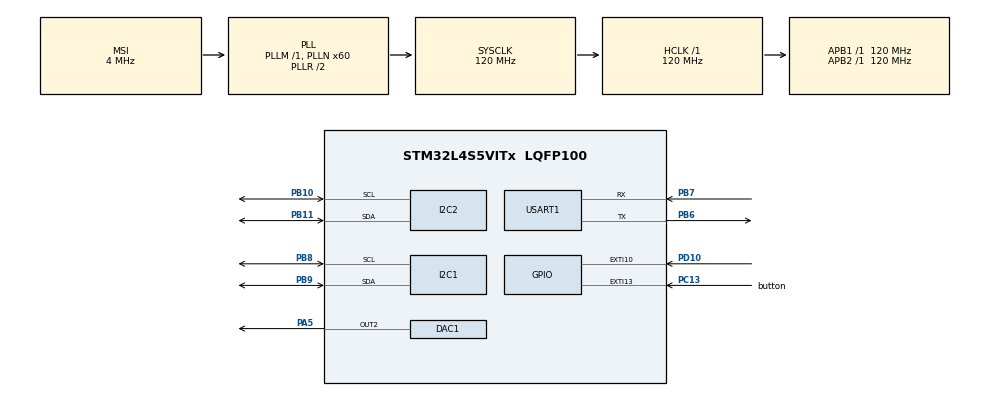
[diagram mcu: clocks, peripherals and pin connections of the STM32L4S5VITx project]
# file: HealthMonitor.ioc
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ADC1.Channel-0\#ChannelRegularConversion=ADC_CHANNEL_TEMPSENSOR
ADC1.NbrOfConversionFlag=1
ADC1.OffsetNumber-0\#ChannelRegularConversion=ADC_OFFSET_NONE
ADC1.Rank-0\#ChannelRegularConversion=1
ADC1.SamplingTime-0\#ChannelRegularConversion=ADC_SAMPLETIME_2CYCLES_5
ADC1.master=1
DAC1.DAC_Channel-DAC_OUT2=DAC_CHANNEL_2
DAC1.DAC_Trigger-DAC_OUT2=DAC_TRIGGER_T2_TRGO
Dma.DAC1_CH2.0.Direction=DMA_MEMORY_TO_PERIPH
Dma.DAC1_CH2.0.EventEnable=DISABLE
Dma.DAC1_CH2.0.Instance=DMA1_Channel1
Dma.DAC1_CH2.0.MemDataAlignment=DMA_MDATAALIGN_HALFWORD
Dma.DAC1_CH2.0.MemInc=DMA_MINC_ENABLE
Dma.DAC1_CH2.0.Mode=DMA_CIRCULAR
Dma.DAC1_CH2.0.PeriphDataAlignment=DMA_PDATAALIGN_HALFWORD
Dma.DAC1_CH2.0.PeriphInc=DMA_PINC_DISABLE
Dma.DAC1_CH2.0.Polarity=HAL_DMAMUX_REQUEST_GEN_RISING
Dma.DAC1_CH2.0.Priority=DMA_PRIORITY_LOW
Dma.DAC1_CH2.0.RequestNumber=1
Dma.DAC1_CH2.0.SignalID=NONE
Dma.DAC1_CH2.0.SyncEnable=DISABLE
Dma.DAC1_CH2.0.SyncPolarity=HAL_DMAMUX_SYNC_NO_EVENT
Dma.DAC1_CH2.0.SyncRequestNumber=1
Dma.DAC1_CH2.0.SyncSignalID=NONE
Dma.Request0=DAC1_CH2
I2C1.Timing=0x30A175AB
I2C2.Timing=0x30A175AB
Mcu.Family=STM32L4
Mcu.Name=STM32L4S5VITx
Mcu.Package=LQFP100
NVIC.DMA1_Channel1_IRQn=true\:0\:0\:false\:false\:true\:false\:true\:true
NVIC.EXTI15_10_IRQn=true\:0\:0\:false\:false\:true\:true\:true\:true
NVIC.PriorityGroup=NVIC_PRIORITYGROUP_4
NVIC.TIM2_IRQn=true\:0\:0\:false\:false\:true\:true\:true\:true
PA4.Signal=SharedAnalog_PA4
PA5.Signal=COMP_DAC12_group
PB10.Mode=I2C
PB10.Signal=I2C2_SCL
PB11.Mode=I2C
PB11.Signal=I2C2_SDA
PB6.Mode=Asynchronous
PB6.Signal=USART1_TX
PB7.Mode=Asynchronous
PB7.Signal=USART1_RX
PB8.Mode=I2C
PB8.Signal=I2C1_SCL
PB9.Mode=I2C
PB9.Signal=I2C1_SDA
PC13.GPIO_Label=button
PC13.Signal=GPXTI13
PD10.GPIO_ModeDefaultEXTI=GPIO_MODE_IT_FALLING
PD10.GPIO_PuPd=GPIO_PULLUP
PD10.Signal=GPXTI10
ProjectManager.HeapSize=0x200
ProjectManager.StackSize=0x400
ProjectManager.TargetToolchain=STM32CubeIDE
RCC.ADCFreq_Value=48000000
RCC.AHBFreq_Value=120000000
RCC.APB1Freq_Value=120000000
RCC.APB1TimFreq_Value=120000000
RCC.APB2Freq_Value=120000000
RCC.APB2TimFreq_Value=120000000
RCC.CortexFreq_Value=120000000
RCC.HCLKFreq_Value=120000000
RCC.HSE_VALUE=8000000
RCC.HSI48_VALUE=48000000
RCC.HSI_VALUE=16000000
RCC.LSE_VALUE=32768
RCC.MSI_VALUE=4000000
RCC.PLLN=60
RCC.PLLSAI1N=24
RCC.SYSCLKFreq_VALUE=120000000
RCC.SYSCLKSource=RCC_SYSCLKSOURCE_PLLCLK
RCC.USBFreq_Value=48000000
RCC.VCOOutputFreq_Value=240000000
SH.COMP_DAC12_group.0=DAC1_OUT2,DAC_OUT2
SH.SharedAnalog_PA4.0=ADC1_IN9
SH.SharedAnalog_PA4.1=DAC1_OUT1
TIM2.Period=2721
TIM2.TIM_MasterOutputTrigger=TIM_TRGO_UPDATE
USART1.VirtualMode-Asynchronous=VM_ASYNC
VP_ADC1_TempSens_Input.Mode=IN-TempSens
VP_ADC1_Vref_Input.Mode=IN-Vrefint
VP_TIM2_VS_ClockSourceINT.Mode=Internal
board=B-L4S5I-IOT01A

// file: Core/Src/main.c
/* USER CODE BEGIN Header */
/**
  ******************************************************************************
  * @file           : main.c
  * @brief          : Main program body
  ******************************************************************************
  * @attention
  *
  * Copyright (c) 2025 STMicroelectronics.
  * All rights reserved.
  *
  * This software is licensed under terms that can be found in the LICENSE file
  * in the root directory of this software component.
  * If no LICENSE file comes with this software, it is provided AS-IS.
  *
  ******************************************************************************
  */
/* USER CODE END Header */
#include "main.h"

/* USER CODE BEGIN Includes */
#include "circular_q.h"
#include "kalman.h"

#include "max30102_for_stm32_hal.h"
#include "stm32l4s5i_iot01_tsensor.h"
#include "stm32l4s5i_iot01_accelero.h"
#include "stm32l4s5i_iot01_gyro.h"
#include "stm32l4s5i_iot01.h"

#include <stdio.h>
#include <string.h>
#include <math.h>
#include <stdbool.h>
#include "pulse_detection_algorithm.h"

#define ARM_MATH_CM4
#include "arm_math.h"

/* USER CODE END Includes */

/* USER CODE BEGIN PD */

#define buffer_size 10

#define VREF_INT_ADDR (uint16_t*)(uint32_t) 0x1FFF75AA //length 2 bytes

#define TS_CAL1_ADDR (uint16_t*)(uint32_t) 0x1FFF75A8
#define TS_CAL2_ADDR (uint16_t*)(uint32_t) 0x1FFF75CA

#define PI 3.14f
#define MAX_VALUE 3276 //12 bit DAC 80% of 4095

/* USER CODE END PD */

ADC_HandleTypeDef hadc1;

DAC_HandleTypeDef hdac1;
DMA_HandleTypeDef hdma_dac1_ch2;

I2C_HandleTypeDef hi2c1;
I2C_HandleTypeDef hi2c2;

TIM_HandleTypeDef htim2;

UART_HandleTypeDef huart1;

/* USER CODE BEGIN PV */

max30102_t max30102;
// Heart rate calculation variables
#define RATE_SIZE 4  // Size of the array for storing heartbeat rates
uint32_t lastBeat = 0;  // Time of the last detected heartbeat
float beatsPerMinute = 0;
uint8_t beatAvg = 0;

int tone; //keeps track of tone
int C6_size = 44; // C6 is 1 kHz, so 44 samples per period
int E6_size = 33; // E6 is 1.3 kHz, so 33 samples per period
int G6_size = 28; // G6 is 1.57 kHz, so 28 samples per period
uint16_t C6_data[44];
uint16_t E6_data[33];
uint16_t G6_data[28];

//accelero

//store kalman state
struct kalman_state x_state;
struct kalman_state y_state;
struct kalman_state z_state;

//store accelerometer values
int16_t aDataXYZ[3];
float aDataXYZ_norm[3];
float ax, ay, az;
//store tilt values
float tilt_x, tilt_y, tilt_z;
//store square roots of denominators in arctan
float root_x, root_y, root_z;

//buffer for last 20 values
struct queue buffer_x;
struct queue buffer_y;
struct queue buffer_z;
struct queue buffer_heart;

float array_x[buffer_size];
float array_y[buffer_size];
float array_z[buffer_size];
float array_heart[4];

//alarm flag, checked to sound alarm thru DAC speaker
uint8_t alarm = 0;
uint8_t temp_alarm = 0;

//UART output
char output[100];

//adc
int CHANNEL = ADC_CHANNEL_VREFINT;

/* USER CODE END PV */

void SystemClock_Config(void);
static void MX_GPIO_Init(void);
static void MX_DMA_Init(void);
static void MX_I2C2_Init(void);
static void MX_DAC1_Init(void);
static void MX_TIM2_Init(void);
static void MX_USART1_UART_Init(void);
static void MX_I2C1_Init(void);
static void MX_ADC1_Init(void);

/* USER CODE BEGIN 0 */

//overwrite the write fucntion to use printf with UART transmit
int _write(int file, char *ptr, int len)
{
	HAL_UART_Transmit(&huart1, (uint8_t*)ptr, len, HAL_MAX_DELAY);
	return len;
}

void generate_sine_wave(uint16_t wave[], int num_samples){
	float step_angle = 2.0f * PI / num_samples;
	int max_amplitude = MAX_VALUE / 2;

	for (int i = 0; i < num_samples; i++) {
		wave[i] = max_amplitude * (1 + arm_sin_f32(step_angle* i)); //sine values are between -1 and 1, add 1 to make them between 0 and 2
	}
}

/* USER CODE END 0 */

int main(void)
{

  /* MCU Configuration--------------------------------------------------------*/

  /* Reset of all peripherals, Initializes the Flash interface and the Systick. */
  HAL_Init();

  /* Configure the system clock */
  SystemClock_Config();

  /* Initialize all configured peripherals */
  MX_GPIO_Init();
  MX_DMA_Init();
  MX_I2C2_Init();
  MX_DAC1_Init();
  MX_TIM2_Init();
  MX_USART1_UART_Init();
  MX_I2C1_Init();
  MX_ADC1_Init();
  /* USER CODE BEGIN 2 */

  //generate DAC waves
  generate_sine_wave(C6_data, C6_size);
  generate_sine_wave(G6_data, G6_size);
  generate_sine_wave(E6_data, E6_size);

  //setup temperature adc
  uint16_t vref_int = *VREF_INT_ADDR;
  float vref_cal = 3.0;

  float ts_cal2_temp = 130.0;

  float ts_cal1_temp = 30.0;
  uint16_t ts_cal1 = *TS_CAL1_ADDR;
  uint16_t ts_cal2 = *TS_CAL2_ADDR;
  uint16_t adc_temp_value;
  float temp_value;

  HAL_Delay(1);
  HAL_ADC_Start(&hadc1);
  HAL_ADC_PollForConversion(&hadc1, HAL_MAX_DELAY);
  uint16_t adc_volt_value = HAL_ADC_GetValue(&hadc1);

  float vref_value = (vref_cal * vref_int) / adc_volt_value;
  CHANNEL = ADC_CHANNEL_TEMPSENSOR;
  MX_ADC1_Init();

  //setup heart sensor
  lastBeat = HAL_GetTick();
  beatsPerMinute = 0;
  for (uint8_t i = 0; i < RATE_SIZE; i++) {
      rates[i] = 0;
  }
  beatAvg = 0;
 // Initialize sensor
  max30102_init(&max30102, &hi2c1);

  // Reset sensor and clear FIFO
  max30102_reset(&max30102);
  max30102_clear_fifo(&max30102);

    // Configure FIFO settings
  max30102_set_fifo_config(&max30102, max30102_smp_ave_8, 1, 7);

  // Configure LED settings
  max30102_set_led_pulse_width(&max30102, max30102_pw_16_bit);
  max30102_set_adc_resolution(&max30102, max30102_adc_2048);
  max30102_set_sampling_rate(&max30102, max30102_sr_800);
  max30102_set_led_current_1(&max30102, 6.2);
  max30102_set_led_current_2(&max30102, 6.2);

  // Enter SpO2 measurement mode
  max30102_set_mode(&max30102, max30102_heart_rate);

  // Enable interrupts
  max30102_set_a_full(&max30102, 1);
  max30102_set_die_temp_en(&max30102, 1);
  max30102_set_die_temp_rdy(&max30102, 1);

  printf("MAX30102 initialized and configured\r\n");

  //start timer 2, used by dma
  HAL_TIM_Base_Start_IT(&htim2);

  //init accelerometer
  BSP_ACCELERO_Init();
  buffer_x.start = 0;
  buffer_x.size = buffer_size;
  buffer_x.end = buffer_size- 1;
  buffer_x.array = array_x;

  buffer_y.start = 0;
  buffer_y.size = buffer_size;
  buffer_y.end = buffer_size- 1;
  buffer_y.array = array_y;

  buffer_z.start = 0;
  buffer_z.size = buffer_size;
  buffer_z.end = buffer_size- 1;
  buffer_z.array = array_z;

  buffer_heart.start = 0;
  buffer_heart.size = 4;
  buffer_heart.end = RATE_SIZE - 1;
  buffer_heart.array = array_heart;

  //init kalman filter for accelerometer values
  BSP_ACCELERO_AccGetXYZ(aDataXYZ);

  x_state.x = aDataXYZ[0];
  x_state.p = 0.1;
  x_state.q = 0.1;
  x_state.k = 0.0;
  x_state.r = 0.1;

  y_state.x = aDataXYZ[1];
  y_state.p = 0.1;
  y_state.q = 0.1;
  y_state.k = 0.0;
  y_state.r = 0.1;

  z_state.x = aDataXYZ[2];
  z_state.p = 0.1;
  z_state.q = 0.1;
  z_state.k = 0.0;
  z_state.r = 0.1;

  /* USER CODE END 2 */

  /* Infinite loop */
  while (1)
  {

    /* USER CODE BEGIN 3 */
	uint16_t len;

	//get temperature values
	HAL_ADC_Start(&hadc1);
	HAL_Delay(1);
	HAL_ADC_PollForConversion(&hadc1, HAL_MAX_DELAY);
	adc_temp_value = HAL_ADC_GetValue(&hadc1);
	temp_value = ((ts_cal2_temp - ts_cal1_temp) / (float)(ts_cal2 - ts_cal1)) * (adc_temp_value * (vref_value / vref_cal) - (float)ts_cal1) + 30.0;

	if(temp_value >= 38 && alarm == 0) { //sound alarm if temperature becomes too high
		alarm = 1;
	}

	//read accelerometer raw values
	BSP_ACCELERO_AccGetXYZ(aDataXYZ);
	// normalize the values
	aDataXYZ_norm[0] = (aDataXYZ[0] / 1024.0f);
	aDataXYZ_norm[1] = (aDataXYZ[1] / 1024.0f);
	aDataXYZ_norm[2] = (aDataXYZ[2] / 1024.0f);

	ax = aDataXYZ_norm[0];
	ay = aDataXYZ_norm[1];
	az = aDataXYZ_norm[2];

	//get square root of denominators in arctan
	arm_sqrt_f32(ay*ay + az*az, &root_x);
	arm_sqrt_f32(ax*ax + az*az, &root_y);
	arm_sqrt_f32(ay*ay + ax*ax, &root_z);

	//get tilt values in degrees
	tilt_x = atan2(ax,root_x) * (180.0f / 3.14f);
	tilt_y = atan2(ay,root_y) * (180.0f / 3.14f);
	tilt_z = atan2(az,root_z) * (180.0f / 3.14f);

	//apply kalman filter on each axis value
	tilt_x = update_kalman_c(&x_state, tilt_x);
	tilt_y = update_kalman_c(&y_state, tilt_y);
	tilt_z = update_kalman_c(&z_state, tilt_z);

	//add the values read to the circular buffers
	queue_add(&buffer_x, tilt_x);
	queue_add(&buffer_y, tilt_y);
	queue_add(&buffer_z, tilt_z);

	//get the new averages
	float avg_x = queue_average(&buffer_x);
	float avg_y = queue_average(&buffer_y);
	float avg_z = queue_average(&buffer_z);

	if(tilt_z >= -90 && tilt_z <= -80 && alarm == 0) { //if 90 degrees rotation about z axis, sound alarm
		alarm = 1;
	}

	//read heart sensor IR values and calculate heart rate

  // Read data from FIFO
  max30102_read_fifo(&max30102);

  // Access the data from the max30102 object
  // The first sample in each array is the most recent
  uint32_t ir_sample = max30102._ir_samples[0];
  uint32_t red_sample = max30102._red_samples[0];

  // Check for heartbeat

  if (checkForBeat(ir_sample) == true)
  {
	  // We sensed a beat!
	  uint32_t currentTime = HAL_GetTick();
	  uint32_t delta = currentTime - lastBeat;
	  lastBeat = currentTime;

	  beatsPerMinute = 60 / (delta / 1000.0);

	  if (beatsPerMinute < 255 && beatsPerMinute > 20)
	  {
		  queue_add(&buffer_heart, beatsPerMinute);

		  beatAvg = queue_average(&buffer_heart);

		  // Print heart rate information
		sprintf(output, "\r\n================= SENSOR READINGS =================\r\n");
		HAL_UART_Transmit(&huart1, (uint8_t*)output, strlen(output), 200);

		sprintf(output, "💓 Heart Rate : %.1f BPM\r\n", beatsPerMinute);
		HAL_UART_Transmit(&huart1, (uint8_t*)output, strlen(output), 200);

		sprintf(output, "🌡 Temperature : %.1f °C\r\n", temp_value);
		HAL_UART_Transmit(&huart1, (uint8_t*)output, strlen(output), 200);

		sprintf(output, "📐 Tilt Angles : X = %.1f°, Y = %.1f°, Z = %.1f°\r\n", tilt_x, tilt_y, tilt_z);
		HAL_UART_Transmit(&huart1, (uint8_t*)output, strlen(output), 200);

		sprintf(output, "==================================================\r\n\r\n");
		HAL_UART_Transmit(&huart1, (uint8_t*)output, strlen(output), 200);

		if(beatAvg > 170 && alarm == 0) { //if higher than 170, sound alarm
			alarm = 1;
		}
	  }
  }

  if(alarm == 1) {
	  HAL_DAC_Start_DMA(&hdac1, DAC_CHANNEL_2, G6_data, G6_size, DAC_ALIGN_12B_R);
	  alarm = 2; //alarm is playing is 2
  }

	//HAL_Delay(10);

  }
  /* USER CODE END 3 */
}

void SystemClock_Config(void)
{
  RCC_OscInitTypeDef RCC_OscInitStruct = {0};
  RCC_ClkInitTypeDef RCC_ClkInitStruct = {0};

  /** Configure the main internal regulator output voltage
  */
  if (HAL_PWREx_ControlVoltageScaling(PWR_REGULATOR_VOLTAGE_SCALE1_BOOST) != HAL_OK)
  {
    Error_Handler();
  }

  /** Initializes the RCC Oscillators according to the specified parameters
  * in the RCC_OscInitTypeDef structure.
  */
  RCC_OscInitStruct.OscillatorType = RCC_OSCILLATORTYPE_MSI;
  RCC_OscInitStruct.MSIState = RCC_MSI_ON;
  RCC_OscInitStruct.MSICalibrationValue = 0;
  RCC_OscInitStruct.MSIClockRange = RCC_MSIRANGE_6;
  RCC_OscInitStruct.PLL.PLLState = RCC_PLL_ON;
  RCC_OscInitStruct.PLL.PLLSource = RCC_PLLSOURCE_MSI;
  RCC_OscInitStruct.PLL.PLLM = 1;
  RCC_OscInitStruct.PLL.PLLN = 60;
  RCC_OscInitStruct.PLL.PLLP = RCC_PLLP_DIV2;
  RCC_OscInitStruct.PLL.PLLQ = RCC_PLLQ_DIV2;
  RCC_OscInitStruct.PLL.PLLR = RCC_PLLR_DIV2;
  if (HAL_RCC_OscConfig(&RCC_OscInitStruct) != HAL_OK)
  {
    Error_Handler();
  }

  /** Initializes the CPU, AHB and APB buses clocks
  */
  RCC_ClkInitStruct.ClockType = RCC_CLOCKTYPE_HCLK|RCC_CLOCKTYPE_SYSCLK
                              |RCC_CLOCKTYPE_PCLK1|RCC_CLOCKTYPE_PCLK2;
  RCC_ClkInitStruct.SYSCLKSource = RCC_SYSCLKSOURCE_PLLCLK;
  RCC_ClkInitStruct.AHBCLKDivider = RCC_SYSCLK_DIV1;
  RCC_ClkInitStruct.APB1CLKDivider = RCC_HCLK_DIV1;
  RCC_ClkInitStruct.APB2CLKDivider = RCC_HCLK_DIV1;

  if (HAL_RCC_ClockConfig(&RCC_ClkInitStruct, FLASH_LATENCY_5) != HAL_OK)
  {
    Error_Handler();
  }
}

static void MX_ADC1_Init(void)
{

  ADC_ChannelConfTypeDef sConfig = {0};

  /** Common config
  */
  hadc1.Instance = ADC1;
  hadc1.Init.ClockPrescaler = ADC_CLOCK_ASYNC_DIV1;
  hadc1.Init.Resolution = ADC_RESOLUTION_12B;
  hadc1.Init.DataAlign = ADC_DATAALIGN_RIGHT;
  hadc1.Init.ScanConvMode = ADC_SCAN_DISABLE;
  hadc1.Init.EOCSelection = ADC_EOC_SINGLE_CONV;
  hadc1.Init.LowPowerAutoWait = DISABLE;
  hadc1.Init.ContinuousConvMode = DISABLE;
  hadc1.Init.NbrOfConversion = 1;
  hadc1.Init.DiscontinuousConvMode = DISABLE;
  hadc1.Init.ExternalTrigConv = ADC_SOFTWARE_START;
  hadc1.Init.ExternalTrigConvEdge = ADC_EXTERNALTRIGCONVEDGE_NONE;
  hadc1.Init.DMAContinuousRequests = DISABLE;
  hadc1.Init.Overrun = ADC_OVR_DATA_PRESERVED;
  hadc1.Init.OversamplingMode = DISABLE;
  if (HAL_ADC_Init(&hadc1) != HAL_OK)
  {
    Error_Handler();
  }

  /** Configure Regular Channel
  */
  sConfig.Channel = ADC_CHANNEL_TEMPSENSOR;
  sConfig.Rank = ADC_REGULAR_RANK_1;
  sConfig.SamplingTime = ADC_SAMPLETIME_640CYCLES_5;
  sConfig.SingleDiff = ADC_SINGLE_ENDED;
  sConfig.OffsetNumber = ADC_OFFSET_NONE;
  sConfig.Offset = 0;
  if (HAL_ADC_ConfigChannel(&hadc1, &sConfig) != HAL_OK)
  {
    Error_Handler();
  }

}

static void MX_DAC1_Init(void)
{

  DAC_ChannelConfTypeDef sConfig = {0};

  /** DAC Initialization
  */
  hdac1.Instance = DAC1;
  if (HAL_DAC_Init(&hdac1) != HAL_OK)
  {
    Error_Handler();
  }

  /** DAC channel OUT2 config
  */
  sConfig.DAC_SampleAndHold = DAC_SAMPLEANDHOLD_DISABLE;
  sConfig.DAC_Trigger = DAC_TRIGGER_T2_TRGO;
  sConfig.DAC_HighFrequency = DAC_HIGH_FREQUENCY_INTERFACE_MODE_ABOVE_80MHZ;
  sConfig.DAC_OutputBuffer = DAC_OUTPUTBUFFER_ENABLE;
  sConfig.DAC_ConnectOnChipPeripheral = DAC_CHIPCONNECT_DISABLE;
  sConfig.DAC_UserTrimming = DAC_TRIMMING_FACTORY;
  if (HAL_DAC_ConfigChannel(&hdac1, &sConfig, DAC_CHANNEL_2) != HAL_OK)
  {
    Error_Handler();
  }

}

static void MX_I2C1_Init(void)
{

  hi2c1.Instance = I2C1;
  hi2c1.Init.Timing = 0x30A175AB;
  hi2c1.Init.OwnAddress1 = 0;
  hi2c1.Init.AddressingMode = I2C_ADDRESSINGMODE_7BIT;
  hi2c1.Init.DualAddressMode = I2C_DUALADDRESS_DISABLE;
  hi2c1.Init.OwnAddress2 = 0;
  hi2c1.Init.OwnAddress2Masks = I2C_OA2_NOMASK;
  hi2c1.Init.GeneralCallMode = I2C_GENERALCALL_DISABLE;
  hi2c1.Init.NoStretchMode = I2C_NOSTRETCH_DISABLE;
  if (HAL_I2C_Init(&hi2c1) != HAL_OK)
  {
    Error_Handler();
  }

  /** Configure Analogue filter
  */
  if (HAL_I2CEx_ConfigAnalogFilter(&hi2c1, I2C_ANALOGFILTER_ENABLE) != HAL_OK)
  {
    Error_Handler();
  }

  /** Configure Digital filter
  */
  if (HAL_I2CEx_ConfigDigitalFilter(&hi2c1, 0) != HAL_OK)
  {
    Error_Handler();
  }

}

static void MX_I2C2_Init(void)
{

  hi2c2.Instance = I2C2;
  hi2c2.Init.Timing = 0x30A175AB;
  hi2c2.Init.OwnAddress1 = 0;
  hi2c2.Init.AddressingMode = I2C_ADDRESSINGMODE_7BIT;
  hi2c2.Init.DualAddressMode = I2C_DUALADDRESS_DISABLE;
  hi2c2.Init.OwnAddress2 = 0;
  hi2c2.Init.OwnAddress2Masks = I2C_OA2_NOMASK;
  hi2c2.Init.GeneralCallMode = I2C_GENERALCALL_DISABLE;
  hi2c2.Init.NoStretchMode = I2C_NOSTRETCH_DISABLE;
  if (HAL_I2C_Init(&hi2c2) != HAL_OK)
  {
    Error_Handler();
  }

  /** Configure Analogue filter
  */
  if (HAL_I2CEx_ConfigAnalogFilter(&hi2c2, I2C_ANALOGFILTER_ENABLE) != HAL_OK)
  {
    Error_Handler();
  }

  /** Configure Digital filter
  */
  if (HAL_I2CEx_ConfigDigitalFilter(&hi2c2, 0) != HAL_OK)
  {
    Error_Handler();
  }

}

static void MX_TIM2_Init(void)
{

  TIM_ClockConfigTypeDef sClockSourceConfig = {0};
  TIM_MasterConfigTypeDef sMasterConfig = {0};

  htim2.Instance = TIM2;
  htim2.Init.Prescaler = 0;
  htim2.Init.CounterMode = TIM_COUNTERMODE_UP;
  htim2.Init.Period = 2721;
  htim2.Init.ClockDivision = TIM_CLOCKDIVISION_DIV1;
  htim2.Init.AutoReloadPreload = TIM_AUTORELOAD_PRELOAD_DISABLE;
  if (HAL_TIM_Base_Init(&htim2) != HAL_OK)
  {
    Error_Handler();
  }
  sClockSourceConfig.ClockSource = TIM_CLOCKSOURCE_INTERNAL;
  if (HAL_TIM_ConfigClockSource(&htim2, &sClockSourceConfig) != HAL_OK)
  {
    Error_Handler();
  }
  sMasterConfig.MasterOutputTrigger = TIM_TRGO_UPDATE;
  sMasterConfig.MasterSlaveMode = TIM_MASTERSLAVEMODE_DISABLE;
  if (HAL_TIMEx_MasterConfigSynchronization(&htim2, &sMasterConfig) != HAL_OK)
  {
    Error_Handler();
  }

}

static void MX_USART1_UART_Init(void)
{

  huart1.Instance = USART1;
  huart1.Init.BaudRate = 115200;
  huart1.Init.WordLength = UART_WORDLENGTH_8B;
  huart1.Init.StopBits = UART_STOPBITS_1;
  huart1.Init.Parity = UART_PARITY_NONE;
  huart1.Init.Mode = UART_MODE_TX_RX;
  huart1.Init.HwFlowCtl = UART_HWCONTROL_NONE;
  huart1.Init.OverSampling = UART_OVERSAMPLING_16;
  huart1.Init.OneBitSampling = UART_ONE_BIT_SAMPLE_DISABLE;
  huart1.Init.ClockPrescaler = UART_PRESCALER_DIV1;
  huart1.AdvancedInit.AdvFeatureInit = UART_ADVFEATURE_NO_INIT;
  if (HAL_UART_Init(&huart1) != HAL_OK)
  {
    Error_Handler();
  }
  if (HAL_UARTEx_SetTxFifoThreshold(&huart1, UART_TXFIFO_THRESHOLD_1_8) != HAL_OK)
  {
    Error_Handler();
  }
  if (HAL_UARTEx_SetRxFifoThreshold(&huart1, UART_RXFIFO_THRESHOLD_1_8) != HAL_OK)
  {
    Error_Handler();
  }
  if (HAL_UARTEx_DisableFifoMode(&huart1) != HAL_OK)
  {
    Error_Handler();
  }

}

static void MX_DMA_Init(void)
{

  /* DMA controller clock enable */
  __HAL_RCC_DMAMUX1_CLK_ENABLE();
  __HAL_RCC_DMA1_CLK_ENABLE();

  /* DMA interrupt init */
  /* DMA1_Channel1_IRQn interrupt configuration */
  HAL_NVIC_SetPriority(DMA1_Channel1_IRQn, 0, 0);
  HAL_NVIC_EnableIRQ(DMA1_Channel1_IRQn);

}

static void MX_GPIO_Init(void)
{
  GPIO_InitTypeDef GPIO_InitStruct = {0};

  /* GPIO Ports Clock Enable */
  __HAL_RCC_GPIOC_CLK_ENABLE();
  __HAL_RCC_GPIOA_CLK_ENABLE();
  __HAL_RCC_GPIOB_CLK_ENABLE();
  __HAL_RCC_GPIOD_CLK_ENABLE();

  /*Configure GPIO pin : button_Pin */
  GPIO_InitStruct.Pin = button_Pin;
  GPIO_InitStruct.Mode = GPIO_MODE_IT_RISING;
  GPIO_InitStruct.Pull = GPIO_NOPULL;
  HAL_GPIO_Init(button_GPIO_Port, &GPIO_InitStruct);

  /*Configure GPIO pin : PD10 */
  GPIO_InitStruct.Pin = GPIO_PIN_10;
  GPIO_InitStruct.Mode = GPIO_MODE_IT_FALLING;
  GPIO_InitStruct.Pull = GPIO_PULLUP;
  HAL_GPIO_Init(GPIOD, &GPIO_InitStruct);

  /* EXTI interrupt init*/
  HAL_NVIC_SetPriority(EXTI15_10_IRQn, 0, 0);
  HAL_NVIC_EnableIRQ(EXTI15_10_IRQn);

}

/* USER CODE BEGIN 4 */
void HAL_GPIO_EXTI_Callback(uint16_t GPIO_Pin){
<<<<<<< HEAD
	btn_state = (btn_state+1) % 3;
=======

	if(alarm == 2) {
		HAL_DAC_Stop_DMA(&hdac1, DAC_CHANNEL_2);
		alarm = 0;
	}
>>>>>>> heartsensor
}

//void HAL_TIM_PeriodElapsedCallback (TIM_HandleTypeDef * htim) {
//	if(htim == &htim2) {
////		index_v = (index_v + 1) % c6_samples;
////		HAL_DAC_SetValue(&hdac1, DAC_CHANNEL_1, DAC_ALIGN_12B_R, c6_sine_wave[index_v]);
//	}
//}

/* USER CODE END 4 */

void Error_Handler(void)
{
  __disable_irq();
  while (1)
  {
  }
}
